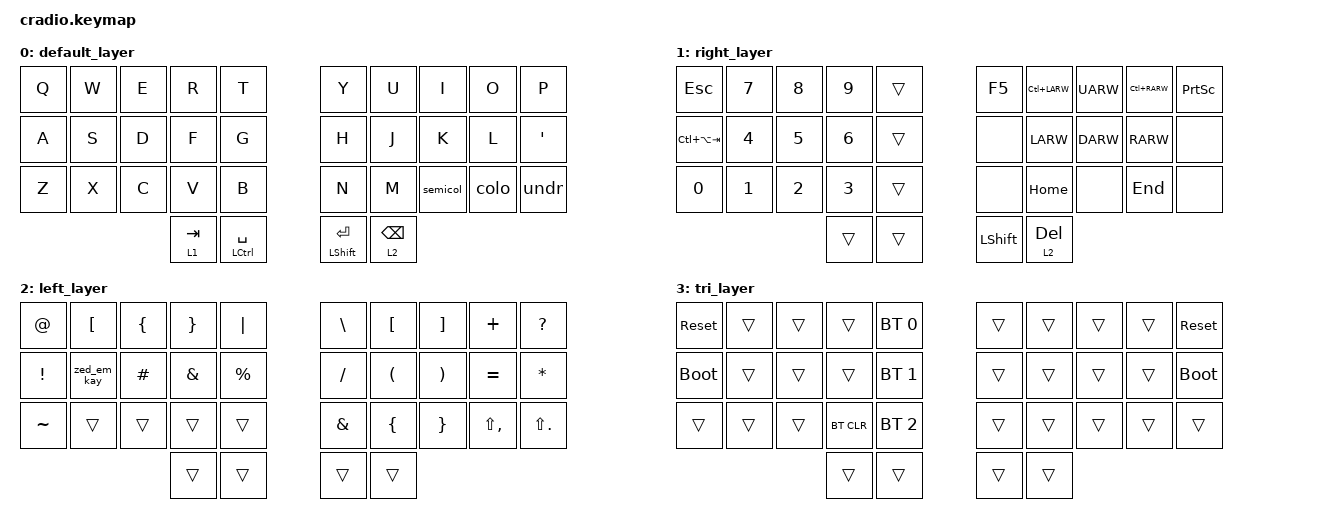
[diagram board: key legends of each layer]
// Copyright (c) 2022 The ZMK Contributors
// SPDX-License-Identifier: MIT

#include <behaviors.dtsi>
#include <dt-bindings/zmk/keys.h>
#include <dt-bindings/zmk/bt.h>

// Home row mods macro
#define HRML(k1,k2,k3,k4) &ht LSHFT k1  &ht LALT k2  &ht LCTRL k3  &ht LGUI k4
#define HRMR(k1,k2,k3,k4) &ht RGUI k1  &ht RCTRL k2  &ht RALT k3  &ht RSHFT k4

/ {
    behaviors {
        ht: hold_tap {
            compatible = "zmk,behavior-hold-tap";
            #binding-cells = <2>;
            flavor = "tap-preferred";
            tapping-term-ms = <220>;
            quick-tap-ms = <150>;
            require-prior-idle-ms = <100>;
            bindings = <&kp>, <&kp>;
        };
        semicol: semicolon {
            compatible = "zmk,behavior-mod-morph";
            #binding-cells = <0>;
            bindings = <&kp COMMA>, <&kp SEMI>;
            mods = <(MOD_LSFT)>;
        };
        colo: colon {
            compatible = "zmk,behavior-mod-morph";
            #binding-cells = <0>;
            bindings = <&kp DOT>, <&kp COLON>;
            mods = <(MOD_LSFT)>;
        };
        undr: underscore {
            compatible = "zmk,behavior-mod-morph";
            #binding-cells = <0>;
            bindings = <&kp MINUS>, <&kp UNDER>;
            mods = <(MOD_LSFT)>;
        };
    };

    macros {
        zed_em_kay: zed_em_kay {
            compatible = "zmk,behavior-macro";
            #binding-cells = <0>;
            bindings
                = <&macro_press &kp LSHFT>
                , <&macro_tap &kp Z &kp M &kp K>
                , <&macro_release &kp LSHFT>
                ;
        };
    };

    conditional_layers {
        compatible = "zmk,conditional-layers";
        tri_layer {
            if-layers = <1 2>;
            then-layer = <3>;
        };
    };

    keymap {
        compatible = "zmk,keymap";
        default_layer {
            bindings = <
        //╭──────────┬──────────┬──────────┬──────────┬──────────╮   ╭──────────┬──────────┬──────────┬──────────┬──────────╮
        //│  Q       │  W       │  E       │  R       │  T       │   │  Y       │  U       │  I       │  O       │  P       │
            &kp Q      &kp W      &kp E      &kp R      &kp T          &kp Y      &kp U      &kp I      &kp O      &kp P
        //├──────────┼──────────┼──────────┼──────────┼──────────┤   ├──────────┼──────────┼──────────┼──────────┼──────────┤
        //│  A       │  S       │  D       │  F       │  G       │   │  H       │  J       │  K       │  L       │ ' "      │
            &kp A      &kp S      &kp D      &kp F      &kp G          &kp H      &kp J      &kp K      &kp L      &kp SQT
        //├──────────┼──────────┼──────────┼──────────┼──────────┤   ├──────────┼──────────┼──────────┼──────────┼──────────┤
        //│  Z       │  X       │  C       │  V       │  B       │   │  N       │  M       │ ,        │ .        │ -        │
            &kp Z      &kp X      &kp C      &kp V      &kp B          &kp N      &kp M      &semicol  &colo      &undr
        //╰──────────┴──────────┴──────────┼──────────┼──────────┤   ├──────────┼──────────┼──────────┴──────────┴──────────╯
                                          &lt 1 TAB &mt LCTRL SPACE &mt LSHFT ENTER &lt 2 BSPC
        //                                 ╰──────────┴──────────╯   ╰──────────┴──────────╯
            >;
        };

        right_layer {
            bindings = <
        //╭──────────┬──────────┬──────────┬──────────┬──────────╮   ╭──────────┬──────────┬──────────┬──────────┬──────────╮
        //│ ESC      │  7       │  8       │  9       │          │   │ F5       │WORD LEFT │ UP       │WORD RIGHT│ PRNT SCRN│
            &kp ESC    &kp N7     &kp N8     &kp N9     &trans         &kp F5   &kp LC(LARW) &kp UARW &kp LC(RARW) &kp PSCRN
        //├──────────┼──────────┼──────────┼──────────┼──────────┤   ├──────────┼──────────┼──────────┼──────────┼──────────┤
        //│Win change│  4       │  5       │  6       │          │   │          │ LEFT     │ DOWN     │ RIGHT    │          │
           &kp LC(LA(TAB)) &kp N4     &kp N5     &kp N6     &trans           &none    &kp LARW   &kp DARW   &kp RARW    &none
        //├──────────┼──────────┼──────────┼──────────┼──────────┤   ├──────────┼──────────┼──────────┼──────────┼──────────┤
        //│  0       │  1       │  2       │  3       │          │   │          │ HOME     │          │ END      │          │
            &kp N0     &kp N1     &kp N2     &kp N3     &trans         &none     &kp HOME     &none   &kp END       &none
        //╰──────────┴──────────┴──────────┼──────────┼──────────┤   ├──────────┼──────────┼──────────┴──────────┴──────────╯
                                             &trans     &trans         &kp LSHFT &lt 2 DELETE
        //                                 ╰──────────┴──────────╯   ╰──────────┴──────────╯
            >;
        };

        left_layer {
            bindings = <
        //╭──────────┬──────────┬──────────┬──────────┬──────────╮   ╭──────────┬──────────┬──────────┬──────────┬──────────╮
        //│  @       │  [       │  {       │  }       │  │       │   │  \       │  [       │  ]       │  +       │  ?       │
            &kp AT     &kp LBKT   &kp LBRC   &kp RBRC   &kp PIPE       &kp BSLH  &kp LBKT   &kp RBKT   &kp PLUS   &kp QMARK
        //├──────────┼──────────┼──────────┼──────────┼──────────┤   ├──────────┼──────────┼──────────┼──────────┼──────────┤
        //│  !       │  "       │  #       │  &       │    %     │   │  /       │  (       │  )       │  =       │  *       │
            &kp EXCL &zed_em_kay &kp HASH  &kp AMPS  &kp PRCNT       &kp SLASH  &kp LPAR   &kp RPAR   &kp EQUAL   &kp ASTRK
        //├──────────┼──────────┼──────────┼──────────┼──────────┤   ├──────────┼──────────┼──────────┼──────────┼──────────┤
        //│  ~       │          │          │          │          │   │  &       │  {       │   }      │  <       │   >      │
           &kp TILDE    &trans     &trans     &trans     &trans        &kp AMPS   &kp LBRC  &kp RBRC  &kp LS(COMMA) &kp LS(DOT)
        //╰──────────┴──────────┴──────────┼──────────┼──────────┤   ├──────────┼──────────┼──────────┴──────────┴──────────╯
                                             &trans     &trans         &trans     &trans
        //                                 ╰──────────┴──────────╯   ╰──────────┴──────────╯
            >;
        };

        tri_layer {
            bindings = <
        //╭──────────┬──────────┬──────────┬──────────┬──────────╮   ╭──────────┬──────────┬──────────┬──────────┬──────────╮
        //│ RESET    │          │          │          │PROFILE 0 │   │          │          │          │          │  RESET   │
           &sys_reset  &trans     &trans     &trans    &bt BT_SEL 0    &trans     &trans     &trans     &trans    &sys_reset
        //├──────────┼──────────┼──────────┼──────────┼──────────┤   ├──────────┼──────────┼──────────┼──────────┼──────────┤
        //│BOOTLOADER│          │          │          │PROFILE 1 │   │          │          │          │          │BOOTLOADER│
          &bootloader  &trans     &trans     &trans    &bt BT_SEL 1    &trans     &trans     &trans     &trans    &bootloader
        //├──────────┼──────────┼──────────┼──────────┼──────────┤   ├──────────┼──────────┼──────────┼──────────┼──────────┤
        //│          │          │          │ CLEAR BT │PROFILE 2 │   │          │          │          │          │          │
            &trans     &trans     &trans    &bt BT_CLR &bt BT_SEL 2    &trans     &trans     &trans     &trans     &trans
        //╰──────────┴──────────┴──────────┼──────────┼──────────┤   ├──────────┼──────────┼──────────┴──────────┴──────────╯
                                             &trans     &trans         &trans     &trans
        //                                 ╰──────────┴──────────╯   ╰──────────┴──────────╯
            >;
        };
    };
};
